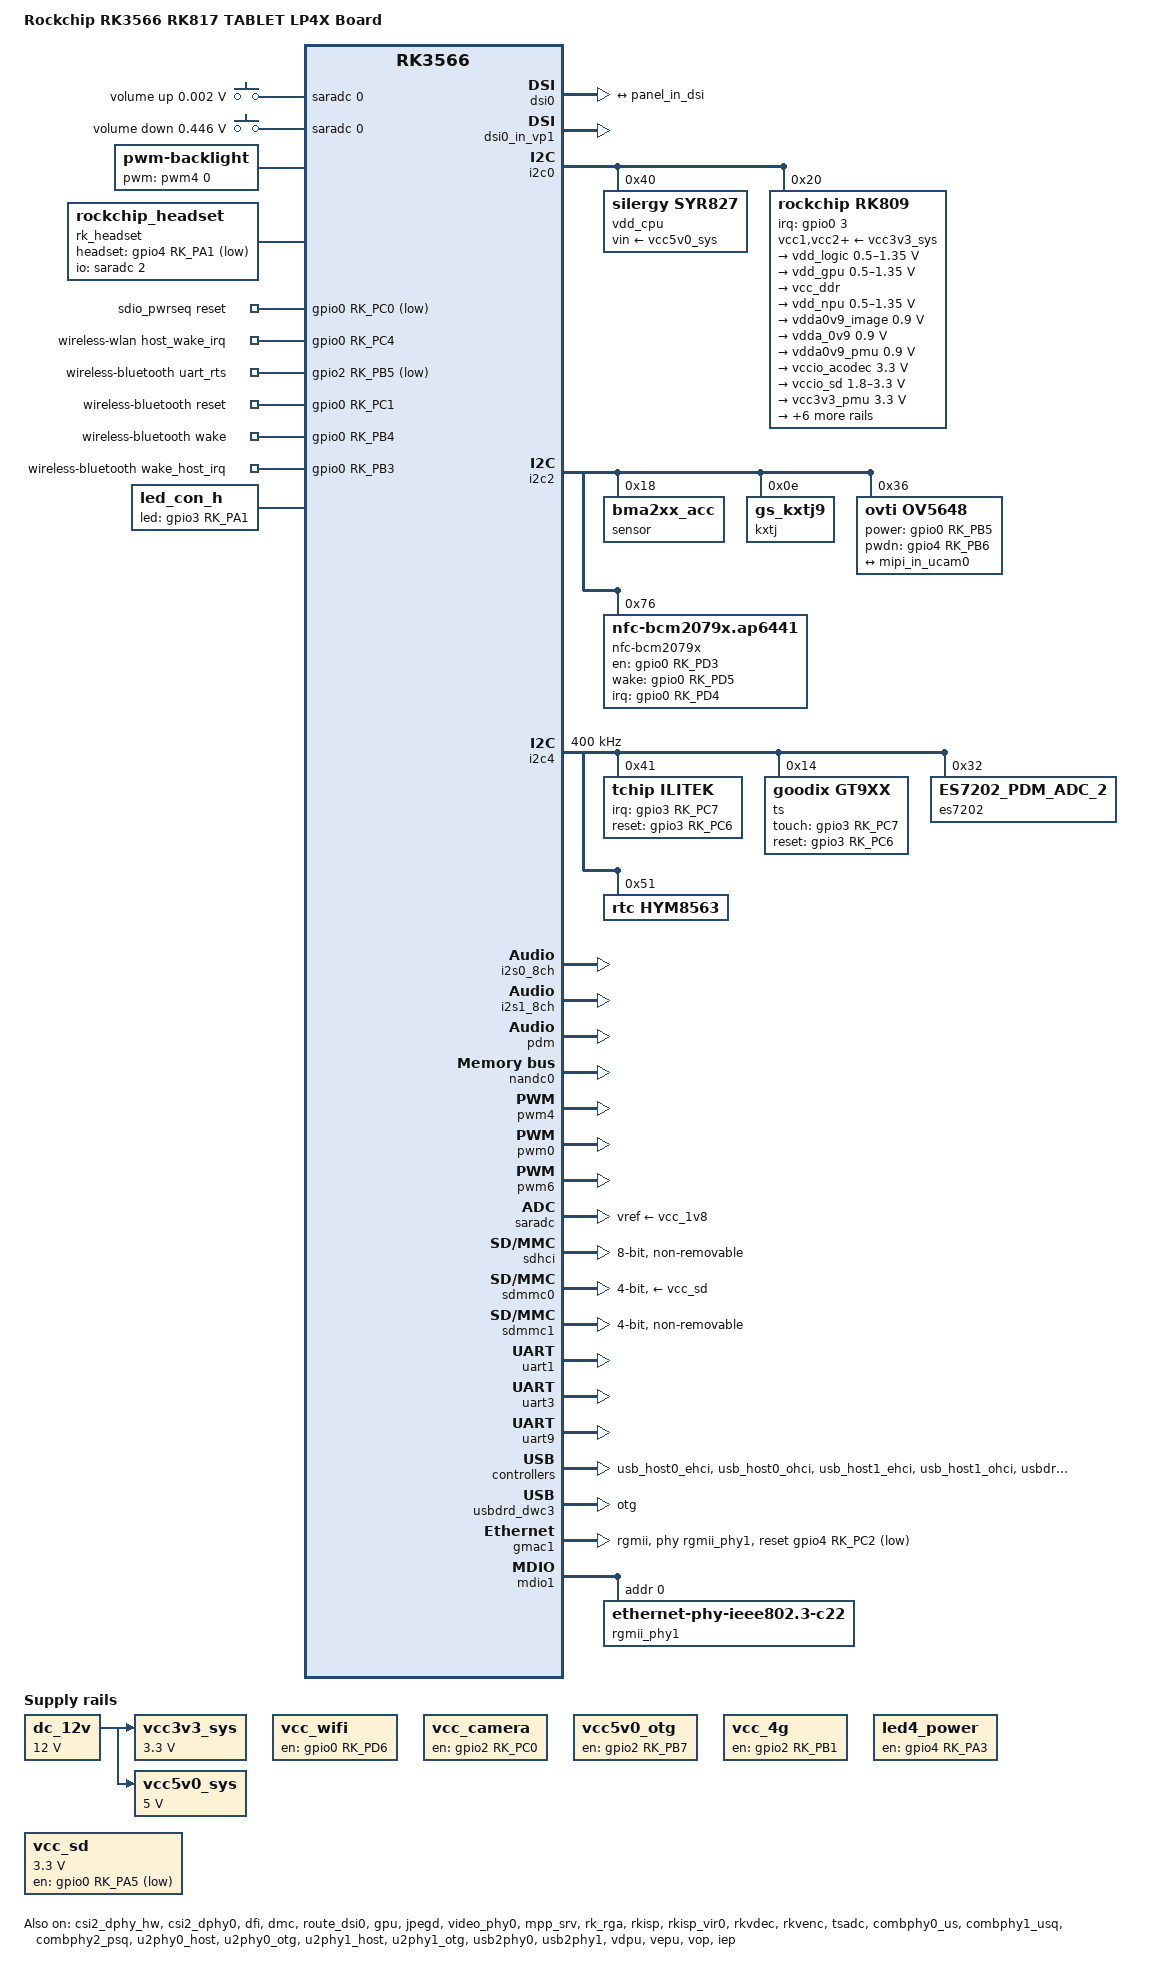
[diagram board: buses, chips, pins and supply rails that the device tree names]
// SPDX-License-Identifier: (GPL-2.0+ OR MIT)
/*
 * Copyright (c) 2020 Rockchip Electronics Co., Ltd.
 *
 */

/dts-v1/;

#include <dt-bindings/gpio/gpio.h>
#include <dt-bindings/pinctrl/rockchip.h>
#include <dt-bindings/input/rk-input.h>
#include <dt-bindings/sensor-dev.h>
#include <dt-bindings/display/drm_mipi_dsi.h>
#include "rk3566.dtsi"
#include "rk3568-android.dtsi"
#include "lcd/lcd-JJ101I008-B0-V1.dtsi"
//#include "lcd/lcd-JJ101I008-B0-V3.dtsi"
//#include "lcd/lcd-JL101-CC1001-27J.dtsi"

/ {
	model = "Rockchip RK3566 RK817 TABLET LP4X Board";
	compatible = "rockchip,rk3566-rk817-tablet", "rockchip,rk3566";

	adc_keys: adc-keys {
		compatible = "adc-keys";
		io-channels = <&saradc 0>;
		io-channel-names = "buttons";
		keyup-threshold-microvolt = <1800000>;
		poll-interval = <100>;

		vol-up-key {
			label = "volume up";
			linux,code = <KEY_VOLUMEUP>;
			press-threshold-microvolt = <1750>;
		};

		vol-down-key {
			label = "volume down";
			linux,code = <KEY_VOLUMEDOWN>;
			press-threshold-microvolt = <446000>;
		};
	};

	backlight: backlight {
		compatible = "pwm-backlight";
		pwms = <&pwm4 0 30000 0>;
		brightness-levels = <
			  0   1   2   3   4   5   6   7
			  8   9  10  11  12  13  14  15
			 16  17  18  19  20  21  22  23
			 24  25  26  27  28  29  30  31
			 32  33  34  35  36  37  38  39
			 40  41  42  43  44  45  46  47
			 48  49  50  51  52  53  54  55
			 56  57  58  59  60  61  62  63
			 64  65  66  67  68  69  70  71
			 72  73  74  75  76  77  78  79
			 80  81  82  83  84  85  86  87
			 88  89  90  91  92  93  94  95
			 96  97  98  99 100 101 102 103
			104 105 106 107 108 109 110 111
			112 113 114 115 116 117 118 119
			120 121 122 123 124 125 126 127
			128 129 130 131 132 133 134 135
			136 137 138 139 140 141 142 143
			144 145 146 147 148 149 150 151
			152 153 154 155 156 157 158 159
			160 161 162 163 164 165 166 167
			168 169 170 171 172 173 174 175
			176 177 178 179 180 181 182 183
			184 185 186 187 188 189 190 191
			192 193 194 195 196 197 198 199
			200 201 202 203 204 205 206 207
			208 209 210 211 212 213 214 215
			216 217 218 219 220 221 222 223
			224 225 226 227 228 229 230 231
			232 233 234 235 236 237 238 239
			240 241 242 243 244 245 246 247
			248 249 250 251 252 253 254 255>;
		default-brightness-level = <200>;
		//enable-gpios = <&gpio0 RK_PB3 GPIO_ACTIVE_LOW>;
		//pinctrl-names = "default";
		//pinctrl-0 = <&bl_en>;
	};

	charge-animation {
		compatible = "rockchip,uboot-charge";
		rockchip,uboot-charge-on = <1>;
		rockchip,android-charge-on = <0>;
		rockchip,uboot-low-power-voltage = <3350>;
		rockchip,screen-on-voltage = <3400>;
		status = "disabled";
	};

	/*flash_rgb13h: flash-rgb13h {
		status = "disabled";
		compatible = "led,rgb13h";
		label = "gpio-flash";
		pinctrl-names = "default";
		pinctrl-0 = <&flash_led_gpios>;
		led-max-microamp = <20000>;
		flash-max-microamp = <20000>;
		flash-max-timeout-us = <1000000>;
		enable-gpio = <&gpio4 6 GPIO_ACTIVE_HIGH>;
		rockchip,camera-module-index = <0>;
		rockchip,camera-module-facing = "back";
	};*/
	
	/*wifi-power {
		compatible = "rockchip,wifi-power";
		wifi-gpio = <&gpio4 RK_PA3 GPIO_ACTIVE_HIGH>;
		pinctrl-names = "default";
		pinctrl-0 = <&wifi_bat>;
	
	};*/
	
	hdmi_sound: hdmi-sound {
		compatible = "simple-audio-card";
		simple-audio-card,format = "i2s";
		simple-audio-card,mclk-fs = <128>;
		simple-audio-card,name = "rockchip,hdmi";
		status = "disabled";

		simple-audio-card,cpu {
				sound-dai = <&i2s0_8ch>;
		};
		simple-audio-card,codec {
				sound-dai = <&hdmi>;
		};
	};

	/*vccsys: vccsys {
		compatible = "regulator-fixed";
		regulator-name = "vcc3v8_sys";
		regulator-always-on;
		regulator-boot-on;
		regulator-min-microvolt = <3800000>;
		regulator-max-microvolt = <3800000>;
	};*/
	
	dc_12v: dc-12v {
		compatible = "regulator-fixed";
		regulator-name = "dc_12v";
		regulator-always-on;
		regulator-boot-on;
		regulator-min-microvolt = <12000000>;//12000000
		regulator-max-microvolt = <12000000>;//12000000
	};
	
	vcc3v3_sys: vcc3v3-sys {
		compatible = "regulator-fixed";
		regulator-name = "vcc3v3_sys";
		regulator-always-on;
		regulator-boot-on;
		regulator-min-microvolt = <3300000>;
		regulator-max-microvolt = <3300000>;
		vin-supply = <&dc_12v>;
	};

	vcc5v0_sys: vcc5v0-sys {
		compatible = "regulator-fixed";
		regulator-name = "vcc5v0_sys";
		regulator-always-on;
		regulator-boot-on;
		regulator-min-microvolt = <5000000>;
		regulator-max-microvolt = <5000000>;
		vin-supply = <&dc_12v>;
	};
	
	vcc_wifi: vcc-wifi-regulator {
		compatible = "regulator-fixed";
		gpio = <&gpio0 RK_PD6 GPIO_ACTIVE_HIGH>;
		pinctrl-names = "default";
		pinctrl-0 = <&wifi_bat>;
		regulator-name = "vcc_wifi";
		enable-active-high;
		regulator-always-on;
		regulator-boot-on;
	};

	vcc_camera: vcc-camera-regulator {
		compatible = "regulator-fixed";
		gpio = <&gpio2 RK_PC0 GPIO_ACTIVE_HIGH>;
		pinctrl-names = "default";
		pinctrl-0 = <&camera_pwr>;
		regulator-name = "vcc_camera";
		enable-active-high;
		regulator-always-on;
		regulator-boot-on;
	};
	
	vcc5v0_otg: vcc5v0-otg-regulator {
		compatible = "regulator-fixed";
		enable-active-high;
		gpio = <&gpio2 RK_PB7 GPIO_ACTIVE_HIGH>;
		pinctrl-names = "default";
		pinctrl-0 = <&vcc5v0_otg_en>;
		regulator-name = "vcc5v0_otg";
	};
	
	vcc_4g: vcc-4g-regulator {
		compatible = "regulator-fixed";
		gpio = <&gpio2 RK_PB1 GPIO_ACTIVE_HIGH>;
		pinctrl-names = "default";
		pinctrl-0 = <&pwr_4g>;
		regulator-name = "vcc_4g";
		enable-active-high;
		regulator-always-on;
		regulator-boot-on;
	};
	
	led4_power: led4-power-regulator {
		compatible = "regulator-fixed";
		gpio = <&gpio4 RK_PA3 GPIO_ACTIVE_HIGH>;
		pinctrl-names = "default";
		pinctrl-0 = <&led4_pwr>;
		regulator-name = "led4_power";
		enable-active-high;
		regulator-always-on;
		regulator-boot-on;
	};
	
	rk809_sound: rk809-sound {
		status = "okay";
		compatible = "simple-audio-card";
		simple-audio-card,format = "i2s";
		simple-audio-card,name = "rockchip,rk809-codec";
		simple-audio-card,mclk-fs = <256>;

		simple-audio-card,cpu {
			sound-dai = <&i2s1_8ch>;
		};
		simple-audio-card,codec {
			sound-dai = <&rk809_codec>;
		};
	};

	pdm_mic_array: pdm-mic-array {
		status = "okay";
		compatible = "simple-audio-card";
		simple-audio-card,name = "rockchip,pdm-mic-array";
		simple-audio-card,cpu {
			 sound-dai = <&pdm>;
		};
		simple-audio-card,codec {
			 sound-dai = <&pdmics>;
		};
	};

	pdmics: dummy-codec {
		status = "okay";
		compatible = "rockchip,dummy-codec";
		#sound-dai-cells = <0>;
	};
 
	rk_headset: rk-headset {
		compatible = "rockchip_headset";
		headset_gpio = <&gpio4 RK_PA1 GPIO_ACTIVE_LOW>;
		pinctrl-names = "default";
		pinctrl-0 = <&hp_det>;
		io-channels = <&saradc 2>;
	};

	sdio_pwrseq: sdio-pwrseq {
		compatible = "mmc-pwrseq-simple";
		clocks = <&rk809 1>;
		clock-names = "ext_clock";
		pinctrl-names = "default";
		pinctrl-0 = <&wifi_enable_h>;

		/*
		 * On the module itself this is one of these (depending
		 * on the actual card populated):
		 * - SDIO_RESET_L_WL_REG_ON
		 * - PDN (power down when low)
		 */
		post-power-on-delay-ms = <200>;
		reset-gpios = <&gpio0 RK_PC0 GPIO_ACTIVE_LOW>;
	};

	vcc_sd: vcc-sd {
		compatible = "regulator-gpio";
		enable-active-low;
		enable-gpio = <&gpio0 RK_PA5 GPIO_ACTIVE_LOW>;
		regulator-min-microvolt = <3300000>;
		regulator-max-microvolt = <3300000>;
		pinctrl-names = "default";
		pinctrl-0 = <&vcc_sd_h>;
		regulator-name = "vcc_sd";
		states = <3300000 0x0
			3300000 0x1>;
	};
	
	/*vcc_lcd: vcc-lcd-regulator {
		compatible = "regulator-fixed";
		gpio = <&gpio4 RK_PC3 GPIO_ACTIVE_HIGH>;
		pinctrl-names = "default";
		pinctrl-0 = <&lcd_enable_gpio2>;
		regulator-name = "vcc_lcd";
		enable-active-high;
		regulator-always-on;
		regulator-boot-on;
	};*/

	wireless-wlan {
		compatible = "wlan-platdata";
		rockchip,grf = <&grf>;
		wifi_chip_type = "ap6255";//ap6255//rtl8723ds
		pinctrl-names = "default";
		pinctrl-0 = <&wifi_host_wake_irq>;
		//pinctrl-0 = <&wifi_host_wake_irq>,<&wifi_bat>;
		WIFI,host_wake_irq = <&gpio0 RK_PC4 GPIO_ACTIVE_HIGH>;
		//WIFI,vbat_gpio  = <&gpio4 RK_PA3 GPIO_ACTIVE_HIGH>;
		status = "okay";
	};

	wireless-bluetooth {
		compatible = "bluetooth-platdata";
		clocks = <&rk809 1>;
		clock-names = "ext_clock";
		//wifi-bt-power-toggle;
		uart_rts_gpios = <&gpio2 RK_PB5 GPIO_ACTIVE_LOW>;
		pinctrl-names = "default", "rts_gpio";
		pinctrl-0 = <&uart1m0_rtsn>;
		pinctrl-1 = <&uart1_gpios>;
		BT,reset_gpio    = <&gpio0 RK_PC1 GPIO_ACTIVE_HIGH>;
		BT,wake_gpio     = <&gpio0 RK_PB4 GPIO_ACTIVE_HIGH>;
		BT,wake_host_irq = <&gpio0 RK_PB3 GPIO_ACTIVE_HIGH>;
		status = "okay";
	};
	
	//add by rocky
	test-power {
		status = "okay";
	};
	
	io_control {
		compatible = "io_control";
		gpio-one = <&gpio3 RK_PC1 GPIO_ACTIVE_LOW>;
		gpio-two = <&gpio3 RK_PC2 GPIO_ACTIVE_LOW>;
		gpio-three = <&gpio3 RK_PC3 GPIO_ACTIVE_LOW>;
		gpio-four = <&gpio0 RK_PB6 GPIO_ACTIVE_LOW>;
		pinctrl-names = "default","one","two","three";
		pinctrl-0 = <&gpio_one>;
		pinctrl-1 = <&gpio_two>;
		pinctrl-2 = <&gpio_three>;
		pinctrl-3 = <&gpio_four>;
		status = "disabled";
	};
	
	pwmleds{
		compatible = "pwm-wa-leds";
		pwms = <&pwm6 0 30000 0>;
		left-pwm-id = <6>;
		left-period = <30000>;	
		left-default-level = <0>;
		right-pwm-id = <0>;
		right-period = <30000>;	
		right-default-level = <0>;
		
		left-red = <126>;//gpio3 RK_PD6
		left-green = <127>;//gpio3 RK_PD7
		left-blue = <125>;//gpio3 RK_PD5
		right-red = <123>;//gpio3 RK_PD3
		right-green = <124>;//gpio3 RK_PD4
		right-blue = <122>;//gpio3 RK_PD2
		
		status = "okay";
	};
	
	led_con_h {
		compatible = "led_con_h";
		//zigbee-en-gpio = <&gpio0 GPIO_C2 GPIO_ACTIVE_HIGH>;
		led-power = <131>;//gpio4 RK_PA3
		led-gpio = <&gpio3 RK_PA1 GPIO_ACTIVE_HIGH>;
		status = "okay";
	};

};

&cpu0 {
	cpu-supply = <&vdd_cpu>;
};

&csi2_dphy_hw {
	status = "okay";
};

&csi2_dphy0 {
	status = "okay";

	ports {
		#address-cells = <1>;
		#size-cells = <0>;
		port@0 {
			reg = <0>;
			#address-cells = <1>;
			#size-cells = <0>;

			/*mipi_in_ucam0: endpoint@0 {
				reg = <0>;
				remote-endpoint = <&gc2385_out>;
				data-lanes = <1>;
			};
			mipi_in_ucam1: endpoint@1 {
				reg = <1>;
				remote-endpoint = <&ov8858_out>;
				data-lanes = <1 2 3 4>;
			};*/
			
			mipi_in_ucam0: endpoint@0 {
				reg = <0>;
				remote-endpoint = <&ov5648_out>;
				data-lanes = <1 2>;
			};
		};
		port@1 {
			reg = <1>;
			#address-cells = <1>;
			#size-cells = <0>;

			csidphy0_out: endpoint@0 {
				reg = <0>;
				remote-endpoint = <&isp0_in>;
			};
		};
	};
};

&dfi {
	status = "okay";
};

&dmc {
	center-supply = <&vdd_logic>;
	status = "okay";
};

&dsi0 {
	status = "okay";
	rockchip,lane-rate = <480>;

	ports {
		#address-cells = <1>;
		#size-cells = <0>;

		port@1 {
			reg = <1>;
			dsi_out_panel: endpoint {
				remote-endpoint = <&panel_in_dsi>;
			};
		};
	};

};

&dsi0_panel {
	status = "okay";
	backlight = <&backlight>;
	//power-supply=<&vcc_3v3>;
	enable-gpios = <&gpio2 RK_PC1 GPIO_ACTIVE_HIGH>;
	reset-gpios = <&gpio4 RK_PA0 GPIO_ACTIVE_LOW>;

	pinctrl-names = "default";
	pinctrl-0 = <&lcd_enable_gpio>, <&lcd_rst_gpio>;
	
	ports {
		#address-cells = <1>;
		#size-cells = <0>;

		port@0 {
			reg = <0>;
			panel_in_dsi: endpoint {
				remote-endpoint = <&dsi_out_panel>;
			};
		};
	};
};

&dsi0_in_vp0 {
	status = "disabled";
};

&dsi0_in_vp1 {
	status = "okay";
};

&route_dsi0 {
	status = "okay";
	connect = <&vp1_out_dsi0>;
};

&gpu {
	mali-supply = <&vdd_gpu>;
	status = "okay";
};

&hdmi {
	status = "disabled";
	rockchip,phy-table =
		<92812500  0x8009 0x0000 0x0270>,
		<165000000 0x800b 0x0000 0x026d>,
		<185625000 0x800b 0x0000 0x01ed>,
		<297000000 0x800b 0x0000 0x01ad>,
		<594000000 0x8029 0x0000 0x0088>,
		<000000000 0x0000 0x0000 0x0000>;
};

&hdmi_in_vp0 {
	status = "disabled";
};

&hdmi_in_vp1 {
	status = "disabled";
};

&hdmi_sound {
	status = "disabled";
};

&i2c0 {
	status = "okay";

	/*vdd_cpu: tcs4525@1c {
		compatible = "tcs,tcs452x";
		reg = <0x1c>;
		vin-supply = <&vccsys>;
		regulator-compatible = "fan53555-reg";
		regulator-name = "vdd_cpu";
		regulator-min-microvolt = <712500>;
		regulator-max-microvolt = <1390000>;
		regulator-init-microvolt = <900000>;
		regulator-ramp-delay = <2300>;
		fcs,suspend-voltage-selector = <1>;
		regulator-boot-on;
		regulator-always-on;
		regulator-state-mem {
			regulator-off-in-suspend;
		};
	};*/
	
	vdd_cpu: syr827@40 {
		compatible = "silergy,syr827";
		reg = <0x40>;
		vin-supply = <&vcc5v0_sys>;
		regulator-compatible = "fan53555-reg";
		//pinctrl-0 = <&soc_slppin_gpio>;
		//vsel-gpios = <&gpio0 2 GPIO_ACTIVE_HIGH>;
		regulator-name = "vdd_cpu";
		regulator-min-microvolt = <712500>;
		regulator-max-microvolt = <1500000>;
		regulator-init-microvolt = <900000>;//rocky
		regulator-ramp-delay = <1000>;
		fcs,suspend-voltage-selector = <1>;
		regulator-always-on;
		regulator-boot-on;
		regulator-initial-state = <3>;
		regulator-state-mem {
			regulator-off-in-suspend;
		};
	};

	rk809: pmic@20 {
		compatible = "rockchip,rk809";
		reg = <0x20>;
		interrupt-parent = <&gpio0>;
		interrupts = <3 IRQ_TYPE_LEVEL_LOW>;

		pinctrl-names = "default", "pmic-sleep",
				"pmic-power-off", "pmic-reset";
		pinctrl-0 = <&pmic_int>;
		pinctrl-1 = <&soc_slppin_slp>, <&rk817_slppin_slp>;
		pinctrl-2 = <&soc_slppin_gpio>, <&rk817_slppin_pwrdn>;
		pinctrl-3 = <&soc_slppin_gpio>, <&rk817_slppin_rst>;

		rockchip,system-power-controller;
		wakeup-source;
		#clock-cells = <1>;
		clock-output-names = "rk808-clkout1", "rk808-clkout2";
		//fb-inner-reg-idxs = <2>;
		/* 1: rst regs (default in codes), 0: rst the pmic */
		pmic-reset-func = <0>;
		/* not save the PMIC_POWER_EN register in uboot */
		not-save-power-en = <1>;

		vcc1-supply = <&vcc3v3_sys>;
		vcc2-supply = <&vcc3v3_sys>;
		vcc3-supply = <&vcc3v3_sys>;
		vcc4-supply = <&vcc3v3_sys>;
		vcc5-supply = <&vcc3v3_sys>;
		vcc6-supply = <&vcc3v3_sys>;
		vcc7-supply = <&vcc3v3_sys>;
		vcc8-supply = <&vcc3v3_sys>;
		vcc9-supply = <&vcc3v3_sys>;

		pwrkey {
			status = "okay";
		};
		
		rtc {
			status = "okay";
		};

		pinctrl_rk8xx: pinctrl_rk8xx {
			gpio-controller;
			#gpio-cells = <2>;

			rk817_slppin_null: rk817_slppin_null {
				pins = "gpio_slp";
				function = "pin_fun0";
			};

			rk817_slppin_slp: rk817_slppin_slp {
				pins = "gpio_slp";
				function = "pin_fun1";
			};

			rk817_slppin_pwrdn: rk817_slppin_pwrdn {
				pins = "gpio_slp";
				function = "pin_fun2";
			};

			rk817_slppin_rst: rk817_slppin_rst {
				pins = "gpio_slp";
				function = "pin_fun3";
			};
		};

		regulators {
			vdd_logic: DCDC_REG1 {
				regulator-always-on;
				regulator-boot-on;
				regulator-min-microvolt = <500000>;
				regulator-max-microvolt = <1350000>;
				regulator-init-microvolt = <900000>;
				regulator-ramp-delay = <6001>;
				regulator-initial-mode = <0x2>;
				regulator-name = "vdd_logic";
				regulator-state-mem {
					regulator-on-in-suspend;//rocky
					regulator-suspend-microvolt = <900000>;
				};
			};

			vdd_gpu: DCDC_REG2 {
				regulator-always-on;
				regulator-boot-on;
				regulator-min-microvolt = <500000>;
				regulator-max-microvolt = <1350000>;
				regulator-init-microvolt = <900000>;
				regulator-ramp-delay = <6001>;
				regulator-initial-mode = <0x2>;
				regulator-name = "vdd_gpu";
				regulator-state-mem {
					regulator-off-in-suspend;
				};
			};

			vcc_ddr: DCDC_REG3 {
				regulator-always-on;
				regulator-boot-on;
				regulator-initial-mode = <0x2>;
				regulator-name = "vcc_ddr";
				regulator-state-mem {
					regulator-on-in-suspend;
				};
			};

			vdd_npu: DCDC_REG4 {
				regulator-always-on;
				regulator-boot-on;
				regulator-min-microvolt = <500000>;
				regulator-max-microvolt = <1350000>;
				regulator-init-microvolt = <900000>;
				regulator-ramp-delay = <6001>;
				regulator-initial-mode = <0x2>;
				regulator-name = "vdd_npu";
				regulator-state-mem {
					regulator-off-in-suspend;
				};
			};

			vdda0v9_image: LDO_REG1 {
				regulator-boot-on;
				regulator-always-on;
				regulator-min-microvolt = <900000>;
				regulator-max-microvolt = <900000>;
				regulator-name = "vdda0v9_image";
				regulator-state-mem {
					regulator-off-in-suspend;
				};
			};

			vdda_0v9: LDO_REG2 {
				regulator-always-on;
				regulator-boot-on;
				regulator-min-microvolt = <900000>;
				regulator-max-microvolt = <900000>;
				regulator-name = "vdda_0v9";
				regulator-state-mem {
					regulator-off-in-suspend;
				};
			};

			vdda0v9_pmu: LDO_REG3 {
				regulator-always-on;
				regulator-boot-on;
				regulator-min-microvolt = <900000>;
				regulator-max-microvolt = <900000>;
				regulator-name = "vdda0v9_pmu";
				regulator-state-mem {
					regulator-on-in-suspend;
					regulator-suspend-microvolt = <900000>;
				};
			};

			vccio_acodec: LDO_REG4 {
				regulator-always-on;
				regulator-boot-on;
				regulator-min-microvolt = <3300000>;
				regulator-max-microvolt = <3300000>;
				regulator-name = "vccio_acodec";
				regulator-state-mem {
					regulator-off-in-suspend;
				};
			};

			vccio_sd: LDO_REG5 {
				regulator-always-on;
				regulator-boot-on;
				regulator-min-microvolt = <1800000>;
				regulator-max-microvolt = <3300000>;
				regulator-name = "vccio_sd";
				regulator-state-mem {
					regulator-off-in-suspend;
				};
			};

			vcc3v3_pmu: LDO_REG6 {
				regulator-always-on;
				regulator-boot-on;
				regulator-min-microvolt = <3300000>;
				regulator-max-microvolt = <3300000>;
				regulator-name = "vcc3v3_pmu";
				regulator-state-mem {
					regulator-on-in-suspend;
					regulator-suspend-microvolt = <3300000>;
				};
			};

			vcca_1v8: LDO_REG7 {
				regulator-always-on;
				regulator-boot-on;
				regulator-min-microvolt = <1800000>;
				regulator-max-microvolt = <1800000>;
				regulator-name = "vcca_1v8";
				regulator-state-mem {
					regulator-off-in-suspend;
				};
			};

			vcca1v8_pmu: LDO_REG8 {
				regulator-always-on;
				regulator-boot-on;
				regulator-min-microvolt = <1800000>;
				regulator-max-microvolt = <1800000>;
				regulator-name = "vcca1v8_pmu";
				regulator-state-mem {
					regulator-on-in-suspend;
					regulator-suspend-microvolt = <1800000>;
				};
			};

			vcca1v8_image: LDO_REG9 {
				regulator-always-on;
				regulator-boot-on;
				regulator-min-microvolt = <1800000>;
				regulator-max-microvolt = <1800000>;
				regulator-name = "vcca1v8_image";
				regulator-state-mem {
					regulator-off-in-suspend;
				};
			};

			vcc_1v8: DCDC_REG5 {
				regulator-always-on;
				regulator-boot-on;
				regulator-min-microvolt = <1800000>;
				regulator-max-microvolt = <1800000>;
				regulator-name = "vcc_1v8";
				regulator-state-mem {
					regulator-on-in-suspend;
					regulator-suspend-microvolt = <1800000>;
				};
			};

			vcc_3v3: SWITCH_REG1 {
				regulator-always-on;
				regulator-boot-on;
				regulator-name = "vcc_3v3";
				regulator-state-mem {
					regulator-on-in-suspend;
				};
			};

			vcc3v3_sd: SWITCH_REG2 {
				regulator-always-on;
				regulator-boot-on;
				regulator-name = "vcc3v3_sd";
				regulator-state-mem {
					regulator-off-in-suspend;
				};
			};
		};

		rk809_codec: codec {
			#sound-dai-cells = <0>;
			compatible = "rockchip,rk809-codec", "rockchip,rk817-codec";
			clocks = <&cru I2S1_MCLKOUT>;
			clock-names = "mclk";
			assigned-clocks = <&cru I2S1_MCLKOUT>, <&cru I2S1_MCLK_TX_IOE>;
			assigned-clock-rates = <12288000>;
			assigned-clock-parents = <&cru I2S1_MCLKOUT_TX>, <&cru I2S1_MCLKOUT_TX>;
			pinctrl-names = "default";
			pinctrl-0 = <&i2s1m0_mclk>;
			hp-volume = <8>;//20-4.39mW//add 22Ohm  8-0.385-4.49mW//4.9mW
			spk-volume = <10>;//10-1.67W  8-1.93w
			capture-volume = <20>;
			//out-l2spk-r2hp;
			//mic-in-differential;
			//pdmdata-out-enable;
			use-ext-amplifier;
			//adc-for-loopback;
			spk-ctl-gpios = <&gpio0 RK_PB7 GPIO_ACTIVE_HIGH>;
			status = "okay";
		};
	};
};

&i2c2 {
	status = "okay";
	pinctrl-0 = <&i2c2m1_xfer>;

	sensor@18 {
		status = "okay";
		compatible = "bma2xx_acc";
		reg = <0x18>;
		type = <SENSOR_TYPE_ACCEL>;
		irq_enable = <0>;
		//pinctrl-names = "default";
		//pinctrl-0 = <&sensor_gpio>;
		//irq-gpio = <&gpio4 RK_PA6 IRQ_TYPE_EDGE_RISING>;
		poll_delay_ms = <10>;
		power-off-in-suspend = <1>;
		layout = <1>;
	};
	
	mi160@68 {
		status = "disabled";
		compatible = "bmi160_gyro";
		reg = <0x68>;
		type = <SENSOR_TYPE_GYROSCOPE>;
		//irq-gpio = <&gpio8 0 IRQ_TYPE_LEVEL_LOW>;
 		irq_enable = <0>;
 		poll_delay_ms = <30>;
 		layout = <6>;    //for r74
	};
	
	kxtj: kxtj2@0e {
		status = "okay";
		compatible = "gs_kxtj9";
		reg = <0x0e>;
		type = <SENSOR_TYPE_ACCEL>;
		irq_enable = <0>;
		//pinctrl-names = "default";
		//pinctrl-0 = <&sensor_gpio>;
		//irq-gpio = <&gpio4 RK_PA6 IRQ_TYPE_EDGE_RISING>;
		poll_delay_ms = <30>;
		power-off-in-suspend = <1>;
		layout = <2>;
	};

	dw9714: dw9714@c {
		compatible = "dongwoon,dw9714";
		status = "disabled";
		reg = <0x0c>;
		rockchip,camera-module-index = <0>;
		rockchip,vcm-start-current = <10>;
		rockchip,vcm-rated-current = <85>;
		rockchip,vcm-step-mode = <5>;
		rockchip,camera-module-facing = "back";
	};

	/*gc2385: gc2385@37 {
		compatible = "galaxycore,gc2385";
		status = "disabled";
		reg = <0x37>;
		clocks = <&cru CLK_CIF_OUT>;
		clock-names = "xvclk";
		power-domains = <&power RK3568_PD_VI>;
		pinctrl-names = "rockchip,camera_default";
		pinctrl-0 = <&cif_clk>;

		//reset pin control by hardware,used this pin switch to mipi input
		//1->2LANE(LANE 0&1) FRONT camera, 0->4LANE REAR camera
		reset-gpios = <&gpio4 17 GPIO_ACTIVE_LOW>;
		pwdn-gpios = <&gpio4 10 GPIO_ACTIVE_HIGH>;
		rockchip,camera-module-index = <1>;
		rockchip,camera-module-facing = "front";
		rockchip,camera-module-name = "HS5885-BNSM1018-V01";
		rockchip,camera-module-lens-name = "default";
		port {
			gc2385_out: endpoint {
				remote-endpoint = <&mipi_in_ucam0>;
				data-lanes = <1>;
			};
		};
	};

	ov8858: ov8858@36 {
		status = "disabled";
		compatible = "ovti,ov8858";
		reg = <0x36>;
		clocks = <&cru CLK_CAM0_OUT>;
		clock-names = "xvclk";
		power-domains = <&power RK3568_PD_VI>;
		pinctrl-names = "rockchip,camera_default", "rockchip,camera_sleep";
		pinctrl-0 = <&cam_clkout0>;
		pinctrl-1 = <&cam_sleep>;
		//reset pin control by hardware,used this pin switch to mipi input
		//1->2LANE(LANE 0&1) FRONT camera, 0->4LANE REAR camera
		reset-gpios = <&gpio4 17 GPIO_ACTIVE_LOW>;
		pwdn-gpios = <&gpio4 11 GPIO_ACTIVE_HIGH>;
		rockchip,camera-module-index = <0>;
		rockchip,camera-module-facing = "back";
		rockchip,camera-module-name = "HS5885-BNSM1018-V01";
		rockchip,camera-module-lens-name = "default";
		flash-leds = <&flash_rgb13h>;
		lens-focus = <&dw9714>;
		port {
			ov8858_out: endpoint {
				remote-endpoint = <&mipi_in_ucam1>;
				data-lanes = <1 2 3 4>;
			};
		};
	};*/
	
	ov5648: ov5648@36 {
		compatible = "ovti,ov5648";
		status = "okay";
		reg = <0x36>;
		clocks = <&cru CLK_CAM0_OUT>;
		clock-names = "xvclk";
		power-domains = <&power RK3568_PD_VI>;//rocky
		/* avdd-supply = <>; */
		/* dvdd-supply = <>; */
		/* dovdd-supply = <>; */
		/* reset-gpios = <>; */
		//dovdd-supply = <&vcc1v8_dvp>;
		power-gpios = <&gpio0 RK_PB5 GPIO_ACTIVE_HIGH>;
		//reset-gpios = <&gpio2 0 GPIO_ACTIVE_HIGH>;
        pwdn-gpios = <&gpio4 RK_PB6 GPIO_ACTIVE_HIGH>;
		pinctrl-names = "rockchip,camera_default", "rockchip,camera_sleep";
		pinctrl-0 = <&cam_clkout0>;
		pinctrl-1 = <&cam_sleep>;	
		rockchip,camera-module-index = <0>;
		rockchip,camera-module-facing = "front";
		rockchip,camera-module-name = "default";
		rockchip,camera-module-lens-name = "default";                

		port {
				ov5648_out: endpoint {
						remote-endpoint = <&mipi_in_ucam0>;
						//remote-endpoint = <&mipi_in_ucam1>;
						data-lanes = <1 2>;
				};
		};
    };
	
	nfc-bcm2079x@76 {
		compatible = "nfc-bcm2079x.ap6441";
		reg = <0x76>;
		//pw_gpio = <&gpio7 16 GPIO_ACTIVE_HIGH>;
		en_gpio = <&gpio0 RK_PD3 GPIO_ACTIVE_HIGH>;
		wake_gpio = <&gpio0 RK_PD5 GPIO_ACTIVE_HIGH>;
		irq_gpio = <&gpio0 RK_PD4 IRQ_TYPE_EDGE_RISING>;
		status = "okay";
    };
	
};

&i2c3 {
	status = "disabled";
	pinctrl-names = "default";
	//pinctrl-0 = <&i2c3m0_xfer>;
	pinctrl-0 = <&i2c3m1_xfer>;
	clock-frequency = <400000>;
	i2c-scl-rising-time-ns = <138>;
	i2c-scl-falling-time-ns = <4>;

};

&i2c4 {
	status = "okay";
	clock-frequency = <400000>;

	/*gt1x: gt1x@14 {
		compatible = "goodix,gt1x";
		reg = <0x14>;
		pinctrl-names = "default";
		pinctrl-0 = <&tp_gpio>;
		goodix,rst-gpio = <&gpio3 RK_PC6 GPIO_ACTIVE_HIGH>;
		goodix,irq-gpio = <&gpio3 RK_PC7 IRQ_TYPE_LEVEL_LOW>;
		status = "okay";
	};*/
	
	ilitek@41 {
		status = "okay";
		compatible = "tchip,ilitek";
		reg = <0x41>;
		ilitek,irq-gpio = <&gpio3 RK_PC7 IRQ_TYPE_LEVEL_LOW>;
		ilitek,reset-gpio = <&gpio3 RK_PC6 GPIO_ACTIVE_HIGH>;	    
	};
	
	ts@14 {
		compatible = "goodix,gt9xx";
		reg = <0x14>;
		pinctrl-names = "default";
		pinctrl-0 = <&tp_gpio>;
		touch-gpio = <&gpio3 RK_PC7 IRQ_TYPE_LEVEL_LOW>;
		reset-gpio = <&gpio3 RK_PC6 GPIO_ACTIVE_HIGH>;
		//power-gpio = <&gpio0 GPIO_C5 GPIO_ACTIVE_LOW>;
		max-x = <1280>;
		max-y = <800>;
		//tp-size = <101>;
		tp-size = <89>;
		//tp-supply = <&pmic_vcc_tp_33>;
		status = "okay";
    };
	
	tsc@24 {
		status = "disabled";
		compatible = "cy,cyttsp5_i2c_adapter";
		reg = <0x24>;
		cy,adapter_id = "cyttsp5_i2c_adapter";
		//cytp-supply = <&vcc3v3_sys>;
		cy,core {
			cy,name = "cyttsp5_core";
			pinctrl-names = "default";
			pinctrl-0 = <&tsc_gpio>;
			cy,irq_gpio =  <&gpio3 RK_PC7 GPIO_ACTIVE_HIGH>;
			cy,rst_gpio =  <&gpio3 RK_PC6 GPIO_ACTIVE_HIGH>;
			//cy,1v8_gpio =  <&gpio3 RK_PC4 GPIO_ACTIVE_HIGH>;
			//cy,2v8_gpio =  <&gpio3 RK_PC5 GPIO_ACTIVE_HIGH>;
			cy,hid_desc_register = <1>;
			/* CY_CORE_FLAG_RESTORE_PARAMETERS */
			cy,flags = <6>;
			/* CY_CORE_EWG_NONE */
			cy,easy_wakeup_gesture = <0>;
			cy,btn_keys = <172 /* KEY_HOMEPAGE */
						/* previously was KEY_HOME, new Android versions use KEY_HOMEPAGE */
						139 /* KEY_MENU */
						158 /* KEY_BACK */
						217 /* KEY_SEARCH */
						114 /* KEY_VOLUMEDOWN */
						115 /* KEY_VOLUMEUP */
						212 /* KEY_CAMERA */
						116>; /* KEY_POWER */
			cy,btn_keys-tag = <0>;
			cy,mt {
				cy,name = "cyttsp5_mt";
				cy,inp_dev_name = "cyttsp5_mt";
				cy,flags = <0>;
				cy,abs =
					/* ABS_MT_POSITION_X, CY_ABS_MIN_X, CY_ABS_MAX_X, 0, 0 */
					<0x35 0 1920 0 0
					/* ABS_MT_POSITION_Y, CY_ABS_MIN_Y, CY_ABS_MAX_Y, 0, 0 */
					0x36 0 1080 0 0
					/* ABS_MT_PRESSURE, CY_ABS_MIN_P, CY_ABS_MAX_P, 0, 0 */
					0x3a 0 255 0 0
					/* CY_IGNORE_VALUE, CY_ABS_MIN_W, CY_ABS_MAX_W, 0, 0 */
					0xffff 0 255 0 0
					/* ABS_MT_TRACKING_ID, CY_ABS_MIN_T, CY_ABS_MAX_T, 0, 0 */
					0x39 0 15 0 0
					/* ABS_MT_TOUCH_MAJOR, 0, 255, 0, 0 */
					0x30 0 255 0 0
					/* ABS_MT_TOUCH_MINOR, 0, 255, 0, 0 */
					0x31 0 255 0 0
					/* ABS_MT_ORIENTATION, -127, 127, 0, 0 */
					0x34 0xffffff81 127 0 0
					/* ABS_MT_TOOL_TYPE, 0, MT_TOOL_MAX, 0, 0 */
					0x37 0 1 0 0
					/* ABS_DISTANCE, 0, 255, 0, 0 */
					0x19 0 255 0 0>;

					cy,vkeys_x = <1920>;
					cy,vkeys_y = <1080>;
					//cy,revert_x = <0>;
					//cy,revert_y = <1>;
					//cy,xy_exchange = <0>;

					cy,virtual_keys =
						/* KeyCode CenterX CenterY Width Height */
						/* KEY_BACK */
						<158 1360 90 160 180
						/* KEY_MENU */
						139 1360 270 160 180
						/* KEY_HOMEPAGE */
						172 1360 450 160 180
						/* KEY SEARCH */
						217 1360 630 160 180>;
			};

			cy,btn {
				cy,name = "cyttsp5_btn";
				cy,inp_dev_name = "cyttsp5_btn";
			};

			cy,proximity {
				cy,name = "cyttsp5_proximity";
				cy,inp_dev_name = "cyttsp5_proximity";
				cy,abs =
			/* ABS_DISTANCE, CY_PROXIMITY_MIN_VAL, CY_PROXIMITY_MAX_VAL, 0, 0 */
					<0x19 0 1 0 0>;
			};
		};
	};
		
	es7202: es7202@32 {
		status = "okay";
		#sound-dai-cells = <0>;
		compatible = "ES7202_PDM_ADC_2";
		reg = <0x32>;
	};
	
	hym8563: hym8563@51 {
		compatible = "rtc,hym8563";
		reg = <0x51>;		
		#clock-cells = <0>;
		//pinctrl-names = "default";
		//pinctrl-0 = <&rtc_mcu_de1 &rtc_mcu_de2>;
		//irq_gpio = <&gpio7 13 IRQ_TYPE_EDGE_FALLING>;
		//mcu-io-init = <&gpio0 RK_PA0 GPIO_ACTIVE_HIGH>;//CPU_MCU_DE2
		//mcu-io-det = <&gpio0 RK_PA6 GPIO_ACTIVE_HIGH>;//CPU_MCU_DE1
		status = "okay";
	};
	
	AP3087B@44 {
        	status = "disabled";
        	compatible = "AP3087B";
        	reg = <0x44>;
    };
	
};

&i2c5 {
	status = "disabled";
	clock-frequency = <400000>;
	i2c-scl-rising-time-ns = <144>;
	i2c-scl-falling-time-ns = <4>;

	/*sensor@18 {
		compatible = "gs_sc7a20";
		reg = <0x18>;
		type = <SENSOR_TYPE_ACCEL>;
		irq_enable = <0>;
		pinctrl-names = "default";
		pinctrl-0 = <&sensor_gpio>;
		irq-gpio = <&gpio3 RK_PA2 IRQ_TYPE_EDGE_RISING>;
		poll_delay_ms = <10>;
		layout = <1>;
	};*/
};

&i2s0_8ch {
	status = "okay";
};

&i2s1_8ch {
	status = "okay";
	#sound-dai-cells = <0>;//rocky
	rockchip,clk-trcm = <1>;
	pinctrl-names = "default";
	pinctrl-0 = <&i2s1m0_sclktx
		     &i2s1m0_lrcktx
		     &i2s1m0_sdi0
		     &i2s1m0_sdo0>;
};

&pdm {
	status = "okay";
	rockchip,path-map = <1 2 3 0>;
	#sound-dai-cells = <0>;
	pinctrl-names = "default";
    pinctrl-0 = </*&pdmm0_clk*/
                 &pdmm0_clk1
                 /*&pdmm0_sdi0*/
                 &pdmm0_sdi1
                 &pdmm0_sdi2
                 /*&pdmm0_sdi3*/>;
};

&jpegd {
	status = "okay";
};

&jpegd_mmu {
	status = "okay";
};

&video_phy0 {
	status = "okay";
};

&mpp_srv {
	status = "okay";
};

&nandc0 {
	status = "okay";
};

&rockchip_suspend {
	status = "okay";
	rockchip,sleep-mode-config = <
		(0
		| RKPM_SLP_CENTER_OFF
		| RKPM_SLP_HW_PLLS_OFF
		| RKPM_SLP_PMUALIVE_32K
		| RKPM_SLP_PMIC_LP
		| RKPM_SLP_32K_PVTM
		)
	>;
	rockchip,wakeup-config = <
		(0
		| RKPM_PWM0_WKUP_EN
		| RKPM_CPU0_WKUP_EN
		/*| RKPM_GPIO_WKUP_EN*/
		)
	>;
};

&pinctrl {
	cam {
		cam_clkout0: cam-clkout0 {
			rockchip,pins =
				/* cam_clkout0 */
				<4 RK_PA7 1 &pcfg_pull_none>;
		};

		cam_sleep: cam-sleep {
			rockchip,pins =
				/* cam_sleep */
				<4 RK_PA7 RK_FUNC_GPIO &pcfg_pull_none>;
		};
	#if 0
		camera_rst: camera-rst {
			rockchip,pins =
				/* front camera reset */
				<4 RK_PB0 RK_FUNC_GPIO &pcfg_pull_none>,
				/* back camra reset */
				<4 RK_PB1 RK_FUNC_GPIO &pcfg_pull_none>;
		};
	
		flash_led_gpios: flash-led {
			rockchip,pins =
				/* flash led enable */
				<4 RK_PA6 RK_FUNC_GPIO &pcfg_pull_none>;
		};
	#endif
	
		camera_pwr: camera-pwr {
			rockchip,pins =
				<2 RK_PC0 RK_FUNC_GPIO &pcfg_pull_none>;
		};
		
		vcc5v0_otg_en: vcc5v0-otg-en {
			rockchip,pins = 
				<2 RK_PB7 RK_FUNC_GPIO &pcfg_pull_none>;
		};
		
		pwr_4g: pwr-4g {
			rockchip,pins =
				<2 RK_PB1 RK_FUNC_GPIO &pcfg_pull_none>;
		};
		
	};

	tp {
		tp_gpio: tp-gpio {
			rockchip,pins = <3 RK_PC7 RK_FUNC_GPIO &pcfg_pull_up>,
					<3 RK_PC6 RK_FUNC_GPIO &pcfg_pull_none>;
		};
		
		tsc_gpio: tsc-gpio {
			rockchip,pins =
					<3 RK_PC6 RK_FUNC_GPIO &pcfg_pull_up>,
					<3 RK_PC7 RK_FUNC_GPIO &pcfg_pull_up>;
		};
	};

	headphone {
		hp_det: hp-det {
			rockchip,pins = <4 RK_PA1 RK_FUNC_GPIO &pcfg_pull_down>;
		};
	};

    bl_ctrl {
		/*bl_en: bl-en {
			rockchip,pins = <0 RK_PB3 RK_FUNC_GPIO &pcfg_pull_none>;
		};*/
	};
	
	lcd {
		lcd_rst_gpio: lcd-rst-gpio {
			rockchip,pins = <4 RK_PA0 RK_FUNC_GPIO &pcfg_pull_none>;
		};

		lcd_enable_gpio: lcd-enable-gpio {
			rockchip,pins = <2 RK_PC1 RK_FUNC_GPIO &pcfg_pull_none>;
		};
				
		/*lcd_enable_gpio2: lcd-enable-gpio2 {
			rockchip,pins = <4 RK_PC3 RK_FUNC_GPIO &pcfg_pull_none>;
		};*/

	};

	pmic {
		pmic_int: pmic_int {
			rockchip,pins =
				<0 RK_PA3 RK_FUNC_GPIO &pcfg_pull_up>;
		};

		soc_slppin_gpio: soc_slppin_gpio {
			rockchip,pins =
				<0 RK_PA2 RK_FUNC_GPIO &pcfg_output_low>;
		};

		soc_slppin_slp: soc_slppin_slp {
			rockchip,pins =
				<0 RK_PA2 1 &pcfg_pull_none>;
		};

		soc_slppin_rst: soc_slppin_rst {
			rockchip,pins =
				<0 RK_PA2 2 &pcfg_pull_none>;
		};
	};

	sensor {
		sensor_gpio: sensor-gpio {
			rockchip,pins = <4 RK_PA6 RK_FUNC_GPIO &pcfg_pull_none>;
		};
	};

	sdio-pwrseq {
		wifi_enable_h: wifi-enable-h {
			rockchip,pins = <0 RK_PC0 RK_FUNC_GPIO &pcfg_pull_none>;
		};
	};

	vcc_sd {
		vcc_sd_h: vcc-sd-h {
			rockchip,pins = <0 RK_PA5 RK_FUNC_GPIO &pcfg_pull_none>;
		};
	};

	wireless-wlan {
		wifi_host_wake_irq: wifi-host-wake-irq {
			rockchip,pins = <0 RK_PC4 RK_FUNC_GPIO &pcfg_pull_down>;
		};
		wifi_bat: wifi-bat {
			rockchip,pins = <0 RK_PD6 RK_FUNC_GPIO &pcfg_pull_none>;
		};
	};

	wireless-bluetooth {
		uart1_gpios: uart1-gpios {
			rockchip,pins = <2 RK_PB5 RK_FUNC_GPIO &pcfg_pull_none>;
		};
	};
	
	io_control {
		gpio_one: gpio-one {
			rockchip,pins = <3 RK_PC1 RK_FUNC_GPIO &pcfg_pull_up>;
		};
		gpio_two: gpio-two {
			rockchip,pins = <3 RK_PC2 RK_FUNC_GPIO &pcfg_pull_up>;
		};
		gpio_three: gpio-three {
			rockchip,pins = <3 RK_PC3 RK_FUNC_GPIO &pcfg_pull_up>;
		};
		gpio_four: gpio-four {
			rockchip,pins = <0 RK_PB6 RK_FUNC_GPIO &pcfg_pull_up>;
		};
		
	};
	
	led {
		led4_pwr: led4-pwr {
			rockchip,pins = <4 RK_PA3 RK_FUNC_GPIO &pcfg_pull_none>;
		};
	};
	
	/*keys {
		key_gpio: key-gpio {
			rockchip,pins =
				<0 RK_PA4 RK_FUNC_GPIO &pcfg_pull_up>,
				<0 RK_PB4 RK_FUNC_GPIO &pcfg_pull_up>;
		};
	};*/
};

&pmu_io_domains {
	status = "okay";
	pmuio1-supply = <&vcc3v3_pmu>;
	pmuio2-supply = <&vcc3v3_pmu>;
	vccio1-supply = <&vccio_acodec>;
	vccio3-supply = <&vccio_sd>;
	vccio4-supply = <&vcc3v3_pmu>;//vcc3v3_sys
	vccio5-supply = <&vcc_3v3>;
	vccio6-supply = <&vcc_1v8>;
	vccio7-supply = <&vcc_3v3>;
};

&pwm4 {
	status = "okay";
};

&pwm0 {
	status = "okay";
	pinctrl-names = "active";
	pinctrl-0 = <&pwm0m1_pins>;
};
&pwm6 {
	status = "okay";
};

&pwm7 {
	status = "disabled";

	compatible = "rockchip,remotectl-pwm";
	//interrupts = <GIC_SPI 83 IRQ_TYPE_LEVEL_HIGH>;
	remote_pwm_id = <3>;
	handle_cpu_id = <1>;
	remote_support_psci = <1>;//0
	pinctrl-names = "default";
	pinctrl-0 = <&pwm7_pins>;

	ir_key1 {
            rockchip,usercode = <0xff00>;
            rockchip,key_table =                        
				<0xe7   KEY_POWER>,
				<0xe8   388>,    
				<0xb9   KEY_UP>,
				<0xe9   KEY_DOWN>,
				<0xb8   KEY_LEFT>,
				<0xea   KEY_RIGHT>,
				<0xaa   KEY_ENTER>,
                <0xf9   KEY_HOME>,
				<0xbd   164>,
				<0xbf   KEY_BACK>,
                <0xeb   KEY_VOLUMEDOWN>,			
				<0xfb   KEY_MENU>,
                <0xef   KEY_VOLUMEUP>;
        };
	
    ir_key2 {
            rockchip,usercode = <0x7f80>;
            rockchip,key_table =                        
				<0xed   KEY_POWER>,
				<0xf2   388>,    
				<0xfa   KEY_UP>,
				<0xe4   KEY_DOWN>,
				<0xf8   KEY_LEFT>,
				<0xf6   KEY_RIGHT>,
				<0xf7   KEY_ENTER>,			
				<0xfb   KEY_MENU>,			
                <0xfe   KEY_HOME>,						
				<0xf9   KEY_BACK>,			
                <0xf3   KEY_VOLUMEDOWN>,						
                <0xf1   KEY_VOLUMEUP>;
        };	
		
	/*ir_key3 {
            rockchip,usercode = <0x01fe>;
            rockchip,key_table =                        
				<0x48   KEY_POWER>,
				<0xb0   388>,    
				<0xa0   KEY_UP>,
				<0xd8   KEY_DOWN>,
				<0xe0   KEY_LEFT>,
				<0x90   KEY_RIGHT>,
				<0x10   KEY_ENTER>,			
				<0x20   KEY_MENU>,			
				<0x80   KEY_HOME>,						
				<0x60   KEY_BACK>,			
				<0x30   KEY_VOLUMEDOWN>,						
				<0x70   KEY_VOLUMEUP>;
        };*/
	ir_key3 {
            rockchip,usercode = <0x8801>;
            rockchip,key_table =                        
				<0x8f   KEY_POWER>,
				<0x87   388>,    
				<0x8d   KEY_UP>,
				<0x88   KEY_DOWN>,
				<0x8b   KEY_LEFT>,
				<0x89   KEY_RIGHT>,
				<0x8a  KEY_ENTER>,			
				<0x85   KEY_MENU>,						
				<0x8e   KEY_BACK>,			
				<0x96   KEY_VOLUMEDOWN>,						
				<0x97   KEY_VOLUMEUP>;
        };		
};

&rk_rga {
	status = "okay";
};

&rkisp {
	status = "okay";
};

&rkisp_mmu {
	status = "okay";
};

&rkisp_vir0 {
	status = "okay";

	port {
		#address-cells = <1>;
		#size-cells = <0>;

		isp0_in: endpoint@0 {
			reg = <0>;
			remote-endpoint = <&csidphy0_out>;
		};
	};
};

&rkvdec {
	status = "okay";
};

&rkvdec_mmu {
	status = "okay";
};

&rkvenc {
	status = "okay";
};

&rkvenc_mmu {
	status = "okay";
};

&route_hdmi {
	status = "disabled";
	connect = <&vp0_out_hdmi>;
};

&saradc {
	status = "okay";
	vref-supply = <&vcc_1v8>;
};

&sdhci {
	bus-width = <8>;
	supports-emmc;
	non-removable;
	rockchip,txclk-tapnum = <0x8>;
	max-frequency = <200000000>;
	status = "okay";
};

&sdmmc0 {
	max-frequency = <150000000>;
	supports-sd;
	bus-width = <4>;
	cap-mmc-highspeed;
	cap-sd-highspeed;
	disable-wp;
	sd-uhs-sdr104;
	vmmc-supply = <&vcc_sd>;
	vqmmc-supply = <&vccio_sd>;
	pinctrl-names = "default";
	pinctrl-0 = <&sdmmc0_bus4 &sdmmc0_clk &sdmmc0_cmd &sdmmc0_det>;
	status = "okay";
};

&sdmmc1 {
	max-frequency = <150000000>;
	supports-sdio;
	bus-width = <4>;
	disable-wp;
	cap-sd-highspeed;
	cap-sdio-irq;
	keep-power-in-suspend;
	mmc-pwrseq = <&sdio_pwrseq>;
	non-removable;
	pinctrl-names = "default";
	pinctrl-0 = <&sdmmc1_bus4 &sdmmc1_cmd &sdmmc1_clk>;
	sd-uhs-sdr104;
	rockchip,default-sample-phase = <90>;
	status = "okay";
};

&tsadc {
	status = "okay";
};

&uart1 {
	status = "okay";
	pinctrl-names = "default";
	pinctrl-0 = <&uart1m0_xfer &uart1m0_ctsn>;
};

&uart3 {
	status = "okay";
};

&uart9 {
	status = "okay";
	pinctrl-names = "default";
	pinctrl-0 = <&uart9m1_xfer>;
};

/* add by rocky USB 3.0 OTG/SATA Combo PHY_0 */
&combphy0_us {
	status = "okay";
};

/* add by rocky USB 3.0 Host/SATA/QSGMII Combo PHY_1 */
&combphy1_usq {
	status = "okay";
};

&combphy2_psq {
	status = "okay";
};

//add by rocky usb2 phy0
&u2phy0_host {
	//phy-supply = <&vcc5v0_host>;
	status = "okay";
};

&u2phy0_otg {
	vbus-supply = <&vcc5v0_otg>;
	status = "okay";
};

//add by rocky usb2.0 phy1
&u2phy1_host {
	//phy-supply = <&vcc5v0_host>;
	status = "okay";
};

&u2phy1_otg {
	//phy-supply = <&vcc5v0_host>;
	status = "okay";
};

/* add by rocky USB OTG/USB Host_1 USB 2.0 Comb PHY_0 */
&usb2phy0 {
	status = "okay";
};

/* add by rocky USB Host_1/USB Host_2 USB 2.0 Comb PHY_0 */
&usb2phy1 {
	status = "okay";
};

/* add by rocky USB 2.0 Host_2 EHCI controller for high speed */
&usb_host0_ehci {
	status = "okay";
};

/* add by rocky USB 2.0 Host_2 OHCI controller for full/low speed */
&usb_host0_ohci {
	status = "okay";
};

/* add by rocky USB 2.0 Host_3 EHCI controller for high speed */
&usb_host1_ehci {
	status = "okay";
};

/* add by rocky USB 2.0 Host_3 OHCI controller for full/low speed */
&usb_host1_ohci {
	status = "okay";
};

&usbdrd_dwc3 {
	dr_mode = "otg";
	extcon = <&usb2phy0>;
	status = "okay";
};

/* add by rocky USB 3.0 OTG controller */
&usbdrd30 {
	status = "okay";
};

&usbhost_dwc3 {
	status = "okay";
};

/* add by rocky USB 3.0 Host_1 controller */
&usbhost30 {
	status = "okay";
};

&vdpu {
	status = "okay";
};

&vdpu_mmu {
	status = "okay";
};

&vepu {
	status = "okay";
};

&vepu_mmu {
	status = "okay";
};

&vop {
	status = "okay";
	assigned-clocks = <&cru DCLK_VOP0>, <&cru DCLK_VOP1>;
	assigned-clock-parents = <&pmucru PLL_HPLL>, <&cru PLL_VPLL>;
};

&vop_mmu {
	status = "okay";
};

#if 1 //rocky
&iep {
	status = "okay";
};

&iep_mmu {
	status = "okay";
};

&jpegd {
	status = "okay";
};

&jpegd_mmu {
	status = "okay";
};

&mpp_srv {
	status = "okay";
};
#endif

&gmac1 {
	phy-mode = "rgmii";
	clock_in_out = "output";//rk3566 provide
	//clock_in_out = "input";//phy provide

	snps,reset-gpio = <&gpio4 RK_PC2 GPIO_ACTIVE_LOW>;
	snps,reset-active-low;
	/* Reset time is 20ms, 100ms for rtl8211f */
	snps,reset-delays-us = <0 20000 100000>;

	assigned-clocks = <&cru SCLK_GMAC1_RX_TX>, <&cru SCLK_GMAC1>;
	assigned-clock-parents = <&cru SCLK_GMAC1_RGMII_SPEED>, <&cru CLK_MAC1_2TOP>;//rk3566 provide
	//assigned-clock-parents = <&cru SCLK_GMAC1_RGMII_SPEED>, <&cru CLK_MAC1_2TOP>, <&gmac1_clkin>;//phy provide
	assigned-clock-rates = <0>, <125000000>;

	pinctrl-names = "default";
	#if 1//1-rk3566 provide   0-phy provide
	pinctrl-0 = <&gmac1m0_miim
		     &gmac1m0_tx_bus2_level3
		     &gmac1m0_rx_bus2
		     &gmac1m0_rgmii_clk_level2
		     &gmac1m0_rgmii_bus_level3>;
	#else
	pinctrl-0 = <&gmac1m0_miim
		     &gmac1m0_tx_bus2_level3
		     &gmac1m0_rx_bus2
		     &gmac1m0_rgmii_clk_level2
		     &gmac1m0_rgmii_bus_level3
			 &gmac1m0_clkinout>;
	#endif
	
	tx_delay = <0x3b>;//rk3566 provide
	rx_delay = <0x22>;//rk3566 provide
	//tx_delay = <0x3b>;//phy provide
	//rx_delay = <0x1f>;//phy provide

	phy-handle = <&rgmii_phy1>;
	status = "okay";
};

&mdio1 {
	rgmii_phy1: phy@0 {
		compatible = "ethernet-phy-ieee802.3-c22";
		reg = <0x0>;
	};
};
